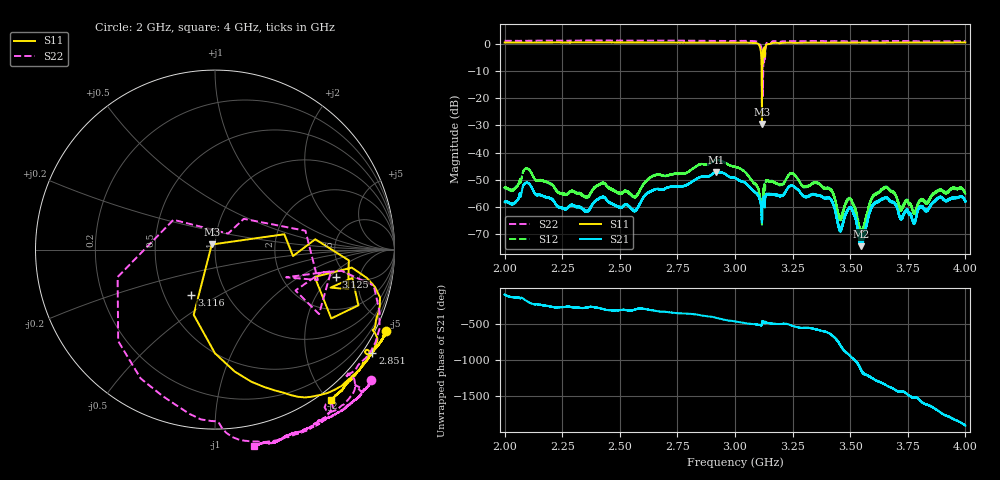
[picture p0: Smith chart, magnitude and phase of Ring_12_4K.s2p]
!Agilent Technologies,N5230C,SG49000117,A.08.50.07
!Agilent N5230C: A.08.50.07
!Date: Thursday, May 09, 2024 01:51:48
!Correction: S11(Full 2 Port(1,2))
!S21(Full 2 Port(1,2))
!S12(Full 2 Port(1,2))
!S22(Full 2 Port(1,2))
!S2P File: Measurements: S11, S21, S12, S22:
# Hz S  MA  R 50
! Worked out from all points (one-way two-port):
!   20001 points, 2 GHz to 4 GHz, reference 50 ohm
!   highest |S21| = -47.19 dB at 2.919 GHz (marker M1); lowest = -74.4 dB at 3.547 GHz (marker M2)
!   lowest |S11| = -29.5 dB at 3.117 GHz (marker M3), VSWR 1.07, Z = 48.2 + j2.74 ohm
!   |S11| at or under -10 dB: 3.115684 GHz to 3.117628 GHz (1.944 MHz wide, 0.0624 % of centre)
!   |S22| runs from -19.3 to 1.2 dB; largest |S21 - S12| = 0.004
!   S11 on the Smith chart (normalised r, x): 2 GHz: -0.56, -4.39; 2.851 GHz: -0.28, -3.33; 3.116 GHz: 0.68, -0.38; 3.125 GHz: 4.03, -2.34; 4 GHz: -0.15, -2.03
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2e9  1.056 -25.3  0.001227 -93.6  0.002257 -111.6  1.133 -39.7
2.096e9  1.051 -25.8  0.002784 178.2  0.005045 160.0  1.136 -40.7
2.3334e9  1.062 -27.3  0.0009541 81.4  0.001742 62.0  1.142 -44.7
2.6667e9  1.054 -30.2  0.002137 35.7  0.003864 11.5  1.142 -50.3
2.8506e9  1.048 -33.2  0.003577 -18.4  0.006119 -44.1  1.134 -54.9
2.9193e9  1.047 -34.7  0.00437 -55.1  0.007276 -81.0  1.127 -57.0
3e9  1.047 -37.2  0.003375 -103.5  0.005455 -129.5  1.128 -60.3
3.0958e9  1.021 -50.8  0.001712 -145.3  0.002439 -174.5  1.095 -77.6
3.1158e9  0.2864 -117.6  0.0006354 -148.2  0.0005573 -166.6  0.8089 -124.3
3.1167e9  0.03368 122.3  0.0005785 -138.9  0.0005223 -146.2  0.742 -136.6
3.1251e9  0.69 -12.7  0.001195 -119.4  0.001813 -126.9  0.5409 -26.3
3.1409e9  0.9787 -23.5  0.001703 -123.5  0.003016 -139.8  1.029 -37.2
3.1759e9  1.043 -32.2  0.001663 -136.8  0.002757 -161.2  1.119 -50.9
3.3334e9  1.048 -39.7  0.001687 160.0  0.002662 136.6  1.121 -61.7
3.4145e9  1.046 -41.3  0.001368 79.6  0.002065 53.7  1.121 -64.3
3.4567e9  1.048 -41.9  0.0003927 -73.2  0.0006035 -96.3  1.117 -65.9
3.5032e9  1.046 -42.9  0.0009566 129.0  0.001357 95.2  1.108 -67.2
3.5475e9  1.048 -44.1  0.0001897 -54.0  0.0003344 -83.3  1.113 -68.5
3.599e9  1.047 -45.3  0.001081 -174.0  0.001565 156.8  1.115 -69.9
3.6667e9  1.05 -46.7  0.001386 75.8  0.002149 50.0  1.118 -71.8
3.7782e9  1.055 -48.5  0.0005118 -72.7  0.0007951 -105.8  1.115 -74.7
4e9  1.059 -52.3  0.001244 -100.6  0.001789 -128.8  1.118 -78.7
